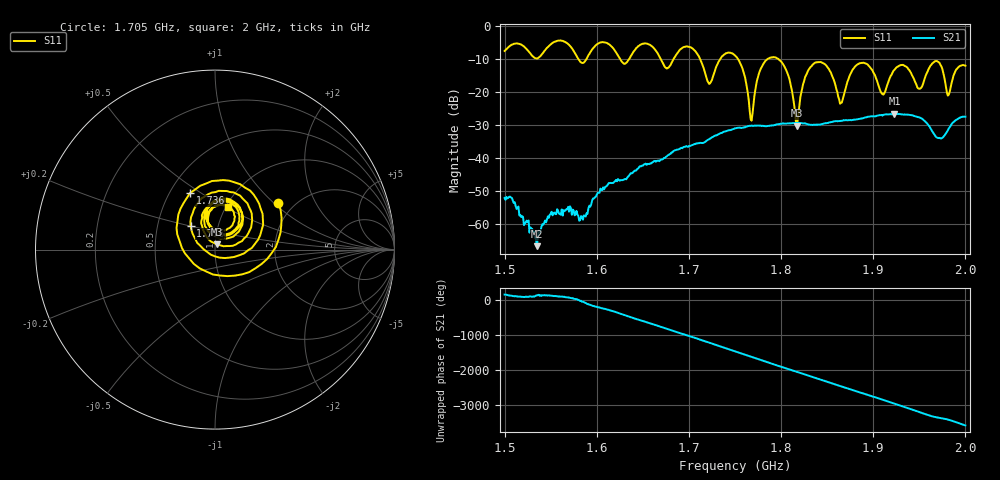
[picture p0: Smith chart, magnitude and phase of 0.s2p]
! NanoVNA-App by SYSJOINT et al v1.1.209 (+OD18)
! Date: 2026-01-21 14:53:02
! Start: 1,5GHz Stop: 2GHz Points: 501
! S-Parameter data: F S11 S21 S12 S22
# Hz S RI R 50
!  Frequency  S11_Real  S11_Imag  S21_Real  S21_Imag  S12_Real  S12_Imag  S22_Real  S22_Imag
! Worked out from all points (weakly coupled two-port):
!   501 points, 1.5 GHz to 2 GHz, reference 50 ohm
!   highest |S21| = -26.64 dB at 1.923 GHz (marker M1); lowest = -66.6 dB at 1.535 GHz (marker M2)
!   lowest |S11| = -30.2 dB at 1.817 GHz (marker M3), VSWR 1.06, Z = 50.9 + j2.99 ohm
!   |S11| at or under -10 dB: 1.712 GHz to 1.734 GHz (22.29 MHz wide, 1.29 % of centre); 1.753 GHz to 1.786 GHz (32.78 MHz wide, 1.85 % of centre); 1.797 GHz to end of sweep (the widest 3 of 6)
!   S12 and S22 are empty: the file has one direction only
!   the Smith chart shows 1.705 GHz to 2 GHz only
!   S11 on the Smith chart (normalised r, x): 1.705 GHz: 1.66, +1.07; 1.736 GHz: 0.63, +0.45; 1.776 GHz: 0.74, +0.20; 2 GHz: 1.02, +0.52
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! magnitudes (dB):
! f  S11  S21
! 1.5 GHz  -7.6  -52.1
! 1.535 GHz  -9.9  -66.6
! 1.561 GHz  -4.5  -57.1
! 1.584 GHz  -11.2  -57.8
! 1.667 GHz  -8.8  -40.8
! 1.705 GHz  -7.2  -35.9
! 1.722 GHz  -17.6  -34.3
! 1.736 GHz  -9.2  -32.4
! 1.75 GHz  -9.0  -31.0
! 1.768 GHz  -28.7  -30.2
! 1.776 GHz  -14.4  -30.2
! 1.8 GHz  -10.8  -29.6
! 1.817 GHz  -30.2  -29.4
! 1.834 GHz  -11.9  -30.0
! 1.865 GHz  -23.3  -28.8
! 1.885 GHz  -11.4  -28.2
! 1.917 GHz  -16.6  -26.8
! 1.923 GHz  -13.3  -26.6
! 1.95 GHz  -19.1  -27.7
! 1.97 GHz  -10.9  -33.9
! 1.982 GHz  -20.8  -31.0
! 2 GHz  -12.1  -27.5
